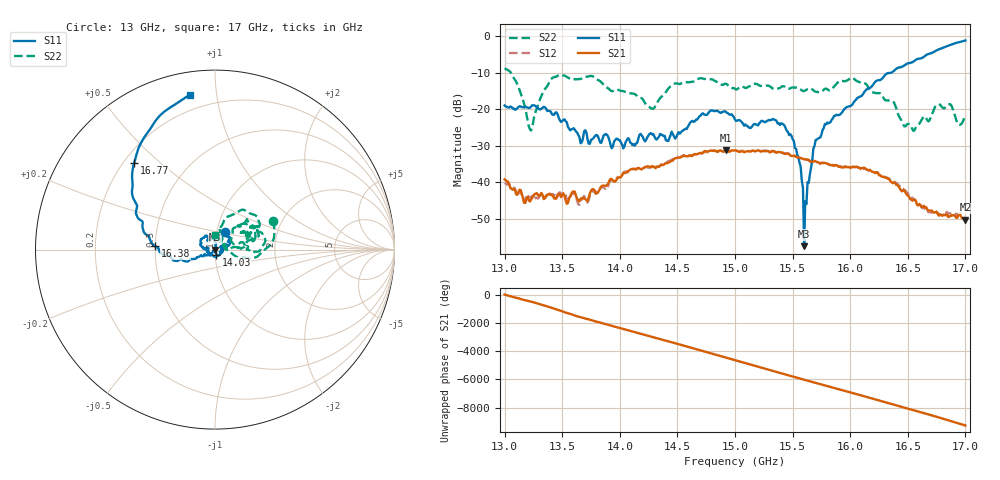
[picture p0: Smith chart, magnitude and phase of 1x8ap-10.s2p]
!Keysight Technologies,P9374A,MY57211807,A.19.30.04
!Date: Friday, May 08, 2026 15:39:47
!Correction: S11(C  2-Port  )
!S21(C  2-Port  )
!S12(C  2-Port  )
!S22(C  2-Port  )
!S2P File: Measurements: S11, S21, S12, S22:
# Hz S  dB  R 50
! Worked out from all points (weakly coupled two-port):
!   401 points, 13 GHz to 17 GHz, reference 50 ohm
!   highest |S21| = -31.16 dB at 14.92 GHz (marker M1); lowest = -50.2 dB at 17 GHz (marker M2)
!   lowest |S11| = -57.5 dB at 15.6 GHz (marker M3), VSWR 1.00, Z = 49.9 - j0.0457 ohm
!   |S11| at or under -10 dB: start of sweep to 16.35 GHz
!   |S22| runs from -25.9 to -8.8 dB; largest |S21 - S12| = 0.0015
!   S11 on the Smith chart (normalised r, x): 13 GHz: 1.10, +0.21; 14.03 GHz: 1.01, -0.06; 16.38 GHz: 0.50, +0.02; 16.77 GHz: 0.24, +0.41; 17 GHz: 0.12, +0.84
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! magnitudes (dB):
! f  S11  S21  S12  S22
! 13 GHz  -19.0  -39.2  -40.2  -8.8
! 13.11 GHz  -19.7  -43.4  -43.8  -13.1
! 13.22 GHz  -19.6  -45.3  -44.1  -25.5
! 13.41 GHz  -21.3  -43.5  -43.4  -11.6
! 13.67 GHz  -29.1  -44.3  -44.7  -11.6
! 14.03 GHz  -30.7  -37.6  -37.4  -15.0
! 14.34 GHz  -27.5  -35.7  -35.7  -17.4
! 14.48 GHz  -28.0  -33.4  -33.2  -13.0
! 14.92 GHz  -20.7  -31.2  -31.3  -13.0
! 15 GHz  -22.9  -31.3  -31.3  -14.4
! 15.42 GHz  -24.2  -32.1  -31.9  -13.7
! 15.55 GHz  -33.2  -33.2  -33.0  -14.2
! 15.6 GHz  -57.5  -33.7  -33.8  -15.0
! 15.62 GHz  -46.0  -33.7  -33.8  -14.7
! 15.67 GHz  -34.3  -34.4  -34.6  -14.5
! 15.79 GHz  -24.2  -34.8  -34.9  -14.4
! 16.02 GHz  -18.7  -35.7  -35.9  -11.4
! 16.34 GHz  -10.1  -39.3  -39.0  -17.6
! 16.38 GHz  -9.5  -40.0  -39.9  -18.1
! 16.55 GHz  -6.9  -44.7  -44.6  -25.9
! 16.77 GHz  -3.6  -49.1  -48.9  -18.6
! 17 GHz  -1.2  -50.2  -49.9  -21.9
